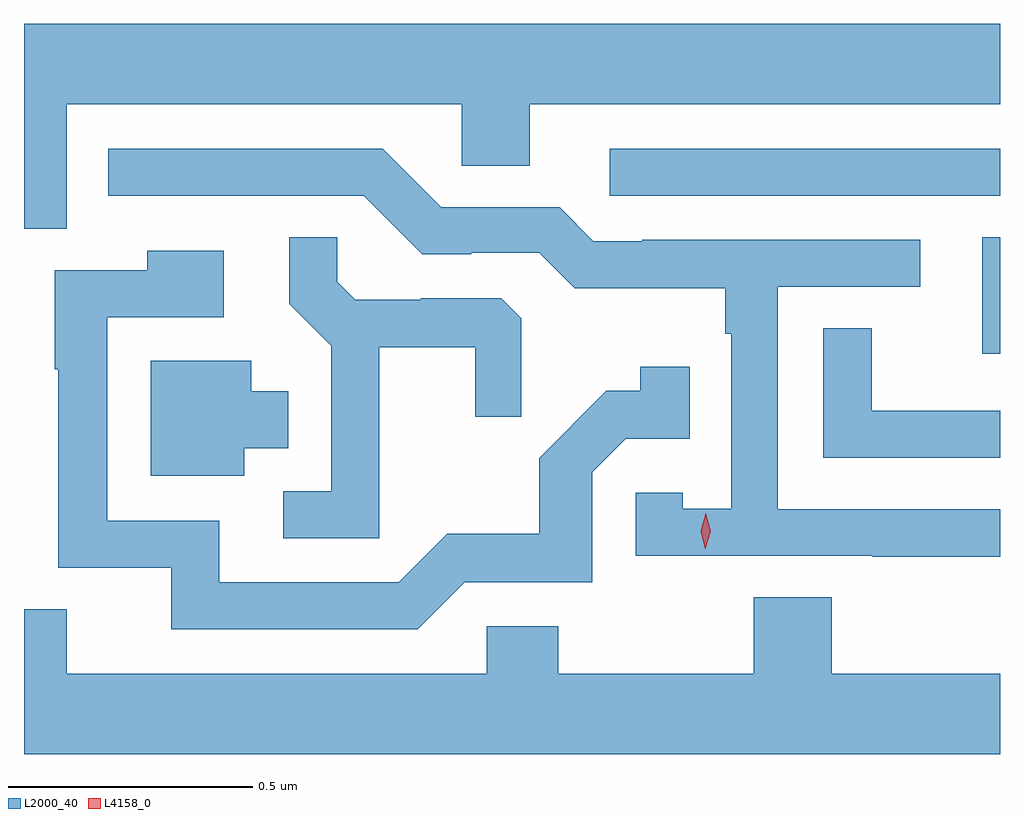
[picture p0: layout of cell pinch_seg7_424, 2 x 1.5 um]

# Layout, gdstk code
import gdstk
lib = gdstk.Library(unit=1e-6, precision=1e-09)
def R(c, l, rs):  # rectangles x0, y0, x1, y1
    for r in rs: c.add(gdstk.rectangle(r[:2], r[2:], *l))
def P(c, l, *ps):  # polygons
    for p in ps: c.add(gdstk.Polygon(p, *l))
L2000_40 = (2000, 40)
L4158_0 = (4158, 0)

pinch_seg7_424 = lib.new_cell('pinch_seg7_424')
R(pinch_seg7_424, L2000_40, [(539.759,1006.764,539.795,1007.003), (538.995,1007.088,539.795,1007.184)])
P(pinch_seg7_424, L2000_40, [(537.795,1007.02),(537.883,1007.02),(537.883,1007.276),(538.692,1007.276),(538.692,1007.149),(538.831,1007.149),(538.831,1007.276),(539.795,1007.276),(539.795,1007.44),(537.795,1007.44)],
  [(539.795,1006.446),(539.34,1006.446),(539.34,1006.902),(539.632,1006.902),(539.632,1006.998),(539.062,1006.998),(539.062,1006.995),(538.962,1006.995),(538.893,1007.064),(538.65,1007.064),(538.53,1007.184),(537.968,1007.184),(537.968,1007.088),(538.491,1007.088),(538.611,1006.968),(538.712,1006.968),(538.712,1006.971),(538.851,1006.971),(538.924,1006.898),(539.232,1006.898),(539.232,1006.805),(539.244,1006.805),(539.244,1006.447),(539.145,1006.447),(539.145,1006.479),(539.049,1006.479),(539.049,1006.35),(539.533,1006.35),(539.533,1006.348),(539.795,1006.348)],
  [(538.523,1006.778),(538.72,1006.778),(538.72,1006.635),(538.814,1006.635),(538.814,1006.837),(538.773,1006.878),(538.608,1006.878),(538.608,1006.875),(538.474,1006.875),(538.437,1006.912),(538.437,1007.003),(538.339,1007.003),(538.339,1006.867),(538.425,1006.781),(538.425,1006.482),(538.326,1006.482),(538.326,1006.386),(538.523,1006.386)],
  [(538.698,1006.296),(538.959,1006.296),(538.959,1006.521),(539.028,1006.59),(539.159,1006.59),(539.159,1006.738),(539.058,1006.738),(539.058,1006.688),(538.988,1006.688),(538.851,1006.55),(538.851,1006.395),(538.662,1006.395),(538.563,1006.296),(538.195,1006.296),(538.195,1006.422),(537.966,1006.422),(537.966,1006.839),(538.204,1006.839),(538.204,1006.975),(538.048,1006.975),(538.048,1006.935),(537.858,1006.935),(537.858,1006.732),(537.865,1006.732),(537.865,1006.326),(538.097,1006.326),(538.097,1006.2),(538.602,1006.2)],
  [(539.795,1006.647),(539.532,1006.647),(539.532,1006.817),(539.433,1006.817),(539.433,1006.551),(539.795,1006.551)],
  [(538.246,1006.571),(538.336,1006.571),(538.336,1006.687),(538.261,1006.687),(538.261,1006.75),(538.055,1006.75),(538.055,1006.514),(538.246,1006.514)],
  [(539.795,1006.108),(539.45,1006.108),(539.45,1006.265),(539.29,1006.265),(539.29,1006.108),(538.89,1006.108),(538.89,1006.206),(538.743,1006.206),(538.743,1006.108),(537.883,1006.108),(537.883,1006.241),(537.795,1006.241),(537.795,1005.944),(539.795,1005.944)])
P(pinch_seg7_424, L4158_0, [(539.191,1006.365),(539.191,1006.365),(539.182,1006.401),(539.192,1006.437),(539.192,1006.437),(539.192,1006.437),(539.202,1006.401),(539.191,1006.365)])

lib.write_gds('pinch_seg7_424.gds')
